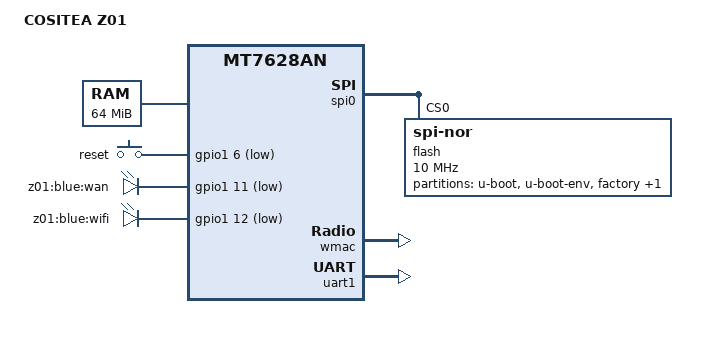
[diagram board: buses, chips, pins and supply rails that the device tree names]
/dts-v1/;
#include <dt-bindings/input/input.h>
#include <dt-bindings/gpio/gpio.h>

#include "mt7628an.dtsi"

/ {
	compatible = "cositea,z01", "mediatek,mt7628an-soc";
	model = "COSITEA Z01";

	chosen {
		bootargs = "console=ttyS0,115200";
	};

	memory@0 {
		device_type = "memory";
		reg = <0x0 0x4000000>;
	};

	gpio-keys-polled {
		compatible = "gpio-keys-polled";
		poll-interval = <20>;

		reset {
			label = "reset";
			gpios = <&gpio1 6 GPIO_ACTIVE_LOW>;
			linux,code = <KEY_RESTART>;
		};
	};

	gpio-leds {
		compatible = "gpio-leds";

		wan {
			label = "z01:blue:wan";
			gpios = <&gpio1 11 GPIO_ACTIVE_LOW>;
		};

		wifi {
			label = "z01:blue:wifi";
			gpios = <&gpio1 12 GPIO_ACTIVE_LOW>;
		};
	};
};

&pinctrl {
	state_default: pinctrl0 {
		gpio {
			ralink,group = "wled_an", "p0led_an", "refclk";
			ralink,function = "gpio";
		};
	};
};

&spi0 {
	status = "okay";

	flash@0 {
		compatible = "jedec,spi-nor";
		reg = <0>;
		spi-max-frequency = <10000000>;
		m25p,chunked-io = <32>;

		partitions {
			compatible = "fixed-partitions";
			#address-cells = <1>;
			#size-cells = <1>;

			partition@0 {
				label = "u-boot";
				reg = <0x0 0x30000>;
				read-only;
			};

			partition@30000 {
				label = "u-boot-env";
				reg = <0x30000 0x10000>;
				read-only;
			};

			factory: partition@40000 {
				label = "factory";
				reg = <0x40000 0x10000>;
			};

			partition@50000 {
				compatible = "denx,uimage";
				label = "firmware";
				reg = <0x50000 0x7b0000>;
			};
		};
	};
};

&wmac {
	status = "okay";
	ralink,mtd-eeprom = <&factory 0x4>;
};

&ethernet {
	mtd-mac-address = <&factory 0x4>;
	mediatek,portmap = "wllll";
};

&uart1 {
	status = "okay";
};
